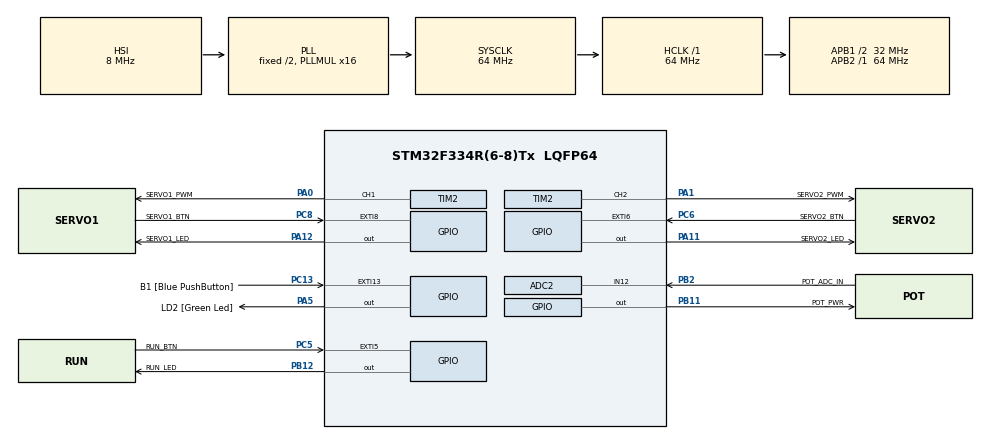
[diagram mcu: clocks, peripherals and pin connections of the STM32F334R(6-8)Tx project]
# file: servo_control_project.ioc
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ADC2.Channel-11\#ChannelRegularConversion=ADC_CHANNEL_12
ADC2.NbrOfConversionFlag=1
ADC2.Offset-11\#ChannelRegularConversion=0
ADC2.OffsetNumber-11\#ChannelRegularConversion=ADC_OFFSET_NONE
ADC2.Rank-11\#ChannelRegularConversion=1
ADC2.SamplingTime-11\#ChannelRegularConversion=ADC_SAMPLETIME_1CYCLE_5
Mcu.Family=STM32F3
Mcu.Name=STM32F334R(6-8)Tx
Mcu.Package=LQFP64
NVIC.EXTI15_10_IRQn=true\:0\:0\:false\:false\:true\:true
NVIC.EXTI9_5_IRQn=true\:0\:0\:false\:false\:true\:true
NVIC.PriorityGroup=NVIC_PRIORITYGROUP_0
NVIC.TIM2_IRQn=true\:0\:0\:false\:false\:true\:true
PA0.GPIO_Label=SERVO1_PWM
PA0.Signal=S_TIM2_CH1_ETR
PA1.GPIO_Label=SERVO2_PWM
PA1.Signal=S_TIM2_CH2
PA11.GPIO_Label=SERVO2_LED
PA11.GPIO_PuPd=GPIO_NOPULL
PA11.GPIO_Speed=GPIO_SPEED_FREQ_LOW
PA11.Signal=GPIO_Output
PA12.GPIO_Label=SERVO1_LED
PA12.GPIO_PuPd=GPIO_NOPULL
PA12.GPIO_Speed=GPIO_SPEED_FREQ_LOW
PA12.Signal=GPIO_Output
PA13.GPIO_Label=TMS
PA13.Mode=Serial_Wire
PA13.Signal=SYS_JTMS-SWDIO
PA14.GPIO_Label=TCK
PA14.Mode=Serial_Wire
PA14.Signal=SYS_JTCK-SWCLK
PA5.GPIO_Label=LD2 [Green Led]
PA5.GPIO_Speed=GPIO_SPEED_FREQ_HIGH
PA5.Signal=GPIO_Output
PB11.GPIO_Label=POT_PWR
PB11.GPIO_ModeDefaultOutputPP=GPIO_MODE_OUTPUT_OD
PB11.GPIO_PuPd=GPIO_PULLUP
PB11.Signal=GPIO_Output
PB12.GPIO_Label=RUN_LED
PB12.GPIO_PuPd=GPIO_NOPULL
PB12.GPIO_Speed=GPIO_SPEED_FREQ_LOW
PB12.Signal=GPIO_Output
PB2.GPIO_Label=POT_ADC_IN
PB2.Mode=IN12-Single-Ended
PB2.Signal=ADC2_IN12
PB3.GPIO_Label=SWO
PB3.Signal=SYS_JTDO-TRACESWO
PC13.GPIO_Label=B1 [Blue PushButton]
PC13.GPIO_ModeDefaultEXTI=GPIO_MODE_IT_FALLING
PC13.Signal=GPXTI13
PC14\ /\ OSC32_IN.Mode=LSE-External-Oscillator
PC14\ /\ OSC32_IN.Signal=RCC_OSC32_IN
PC15\ /\ OSC32_OUT.GPIO_Label=RCC_OSC32_OUT
PC15\ /\ OSC32_OUT.Mode=LSE-External-Oscillator
PC15\ /\ OSC32_OUT.Signal=RCC_OSC32_OUT
PC5.GPIO_Label=RUN_BTN
PC5.GPIO_PuPd=GPIO_PULLDOWN
PC5.Signal=GPXTI5
PC6.GPIO_Label=SERVO2_BTN
PC6.GPIO_PuPd=GPIO_PULLDOWN
PC6.Signal=GPXTI6
PC8.GPIO_Label=SERVO1_BTN
PC8.GPIO_PuPd=GPIO_PULLDOWN
PC8.Signal=GPXTI8
PF0\ /\ OSC_IN.Mode=HSE-External-Clock-Source
PF0\ /\ OSC_IN.Signal=RCC_OSC_IN
PF1\ /\ OSC_OUT.Signal=RCC_OSC_OUT
ProjectManager.HeapSize=0x200
ProjectManager.StackSize=0x400
ProjectManager.TargetToolchain=TrueSTUDIO
RCC.AHBFreq_Value=64000000
RCC.APB1CLKDivider=RCC_HCLK_DIV2
RCC.APB1Freq_Value=32000000
RCC.APB1TimFreq_Value=64000000
RCC.APB2Freq_Value=64000000
RCC.APB2TimFreq_Value=64000000
RCC.CortexFreq_Value=64000000
RCC.FLatency-AdvancedSettings=FLASH_LATENCY_2
RCC.HCLKFreq_Value=64000000
RCC.HSE_VALUE=8000000
RCC.HSI_VALUE=8000000
RCC.PLLMUL=RCC_PLL_MUL16
RCC.SYSCLKFreq_VALUE=64000000
RCC.SYSCLKSourceVirtual=RCC_SYSCLKSOURCE_PLLCLK
SH.S_TIM2_CH1_ETR.0=TIM2_CH1,PWM Generation1 CH1
SH.S_TIM2_CH2.0=TIM2_CH2,PWM Generation2 CH2
TIM2.Channel-PWM\ Generation1\ CH1=TIM_CHANNEL_1
TIM2.Channel-PWM\ Generation2\ CH2=TIM_CHANNEL_2
TIM2.OCFastMode_PWM-PWM\ Generation1\ CH1=TIM_OCFAST_ENABLE
TIM2.Period=50000-1
TIM2.Prescaler=64-1
VP_TIM2_VS_ClockSourceINT.Mode=Internal
board=NUCLEO-F334R8

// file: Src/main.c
/**
  ******************************************************************************
  * @file           : main.c
  * @brief          : Main program body
  ******************************************************************************
  ** This notice applies to any and all portions of this file
  * that are not between comment pairs USER CODE BEGIN and
  * USER CODE END. Other portions of this file, whether
  * inserted by the user or by software development tools
  * are owned by their respective copyright owners.
  *
  * COPYRIGHT(c) 2018 STMicroelectronics
  *
  * Redistribution and use in source and binary forms, with or without modification,
  * are permitted provided that the following conditions are met:
  *   1. Redistributions of source code must retain the above copyright notice,
  *      this list of conditions and the following disclaimer.
  *   2. Redistributions in binary form must reproduce the above copyright notice,
  *      this list of conditions and the following disclaimer in the documentation
  *      and/or other materials provided with the distribution.
  *   3. Neither the name of STMicroelectronics nor the names of its contributors
  *      may be used to endorse or promote products derived from this software
  *      without specific prior written permission.
  *
  * THIS SOFTWARE IS PROVIDED BY THE COPYRIGHT HOLDERS AND CONTRIBUTORS "AS IS"
  * AND ANY EXPRESS OR IMPLIED WARRANTIES, INCLUDING, BUT NOT LIMITED TO, THE
  * IMPLIED WARRANTIES OF MERCHANTABILITY AND FITNESS FOR A PARTICULAR PURPOSE ARE
  * DISCLAIMED. IN NO EVENT SHALL THE COPYRIGHT HOLDER OR CONTRIBUTORS BE LIABLE
  * FOR ANY DIRECT, INDIRECT, INCIDENTAL, SPECIAL, EXEMPLARY, OR CONSEQUENTIAL
  * DAMAGES (INCLUDING, BUT NOT LIMITED TO, PROCUREMENT OF SUBSTITUTE GOODS OR
  * SERVICES; LOSS OF USE, DATA, OR PROFITS; OR BUSINESS INTERRUPTION) HOWEVER
  * CAUSED AND ON ANY THEORY OF LIABILITY, WHETHER IN CONTRACT, STRICT LIABILITY,
  * OR TORT (INCLUDING NEGLIGENCE OR OTHERWISE) ARISING IN ANY WAY OUT OF THE USE
  * OF THIS SOFTWARE, EVEN IF ADVISED OF THE POSSIBILITY OF SUCH DAMAGE.
  *
  ******************************************************************************
  */
#include "main.h"
#include "stm32f3xx_hal.h"

/* USER CODE BEGIN Includes */
#include "usr.h"
/* USER CODE END Includes */

ADC_HandleTypeDef hadc2;

TIM_HandleTypeDef htim2;

/* USER CODE BEGIN PV */
/* Private variables ---------------------------------------------------------*/

/* USER CODE END PV */

void SystemClock_Config(void);
static void MX_GPIO_Init(void);
static void MX_TIM2_Init(void);
static void MX_ADC2_Init(void);

void HAL_TIM_MspPostInit(TIM_HandleTypeDef *htim);

/* USER CODE BEGIN PFP */
/* Private function prototypes -----------------------------------------------*/

/* USER CODE END PFP */

/* USER CODE BEGIN 0 */
void HAL_SYSTICK_Callback (void)
{
   gf_SYSTICK = true;

   if (!(++g_msec_count < 1000))
   {
      gf_RTC_TICK = true;
      g_msec_count = 0;
   }

   return;
}

void HAL_GPIO_EXTI_Callback(uint16_t GPIO_Pin)
{
    g_btn_time = HAL_GetTick();

    if (!( (g_prev_btn == GPIO_Pin) && ((g_btn_time - g_switch_time) <= MAX_DEBOUNCE_TIME) ))
    {
    	g_switch_time = g_btn_time;
    	g_prev_btn = GPIO_Pin;

    	if (GPIO_Pin == B1_Pin)
    	{
    		gf_B1 = true;
    	}

    	if (GPIO_Pin == SERVO1_BTN_Pin)
    	{
    		gf_SERVO1_BTN = true;
    	}

    	if (GPIO_Pin == SERVO2_BTN_Pin)
    	{
    		gf_SERVO2_BTN = true;
    	}

    	if (GPIO_Pin == RUN_BTN_Pin)
    	{
    		gf_RUN_BTN = true;
    	}
    }

	return;
}

void HAL_TIM_PeriodElapsedCallback(TIM_HandleTypeDef *htim)
{
	if (htim == &htim2)
	{
	}

	return;
}

void HAL_TIM_PWM_PulseFinishedCallback(TIM_HandleTypeDef *htim)
{
	if (htim == &htim2)
	{
	}

	return;
}

/* USER CODE END 0 */

int main(void)
{

  /* MCU Configuration----------------------------------------------------------*/

  /* Reset of all peripherals, Initializes the Flash interface and the Systick. */
  HAL_Init();

  /* Configure the system clock */
  SystemClock_Config();

  /* Initialize all configured peripherals */
  MX_GPIO_Init();
  MX_TIM2_Init();
  MX_ADC2_Init();
  /* USER CODE BEGIN 2 */
  usr_init(&htim2);

  /* USER CODE END 2 */

  /* Infinite loop */
  while (1)
  {

  /* USER CODE BEGIN 3 */
	  usr_process(&htim2, &hadc2);

	  __WFI();
  }
  /* USER CODE END 3 */

}

void SystemClock_Config(void)
{

  RCC_OscInitTypeDef RCC_OscInitStruct;
  RCC_ClkInitTypeDef RCC_ClkInitStruct;
  RCC_PeriphCLKInitTypeDef PeriphClkInit;

    /**Initializes the CPU, AHB and APB busses clocks
    */
  RCC_OscInitStruct.OscillatorType = RCC_OSCILLATORTYPE_HSI;
  RCC_OscInitStruct.HSIState = RCC_HSI_ON;
  RCC_OscInitStruct.HSICalibrationValue = 16;
  RCC_OscInitStruct.PLL.PLLState = RCC_PLL_ON;
  RCC_OscInitStruct.PLL.PLLSource = RCC_PLLSOURCE_HSI;
  RCC_OscInitStruct.PLL.PLLMUL = RCC_PLL_MUL16;
  if (HAL_RCC_OscConfig(&RCC_OscInitStruct) != HAL_OK)
  {
    _Error_Handler(__FILE__, __LINE__);
  }

    /**Initializes the CPU, AHB and APB busses clocks
    */
  RCC_ClkInitStruct.ClockType = RCC_CLOCKTYPE_HCLK|RCC_CLOCKTYPE_SYSCLK
                              |RCC_CLOCKTYPE_PCLK1|RCC_CLOCKTYPE_PCLK2;
  RCC_ClkInitStruct.SYSCLKSource = RCC_SYSCLKSOURCE_PLLCLK;
  RCC_ClkInitStruct.AHBCLKDivider = RCC_SYSCLK_DIV1;
  RCC_ClkInitStruct.APB1CLKDivider = RCC_HCLK_DIV2;
  RCC_ClkInitStruct.APB2CLKDivider = RCC_HCLK_DIV1;

  if (HAL_RCC_ClockConfig(&RCC_ClkInitStruct, FLASH_LATENCY_2) != HAL_OK)
  {
    _Error_Handler(__FILE__, __LINE__);
  }

  PeriphClkInit.PeriphClockSelection = RCC_PERIPHCLK_ADC12;
  PeriphClkInit.Adc12ClockSelection = RCC_ADC12PLLCLK_DIV1;
  if (HAL_RCCEx_PeriphCLKConfig(&PeriphClkInit) != HAL_OK)
  {
    _Error_Handler(__FILE__, __LINE__);
  }

    /**Configure the Systick interrupt time
    */
  HAL_SYSTICK_Config(HAL_RCC_GetHCLKFreq()/1000);

    /**Configure the Systick
    */
  HAL_SYSTICK_CLKSourceConfig(SYSTICK_CLKSOURCE_HCLK);

  /* SysTick_IRQn interrupt configuration */
  HAL_NVIC_SetPriority(SysTick_IRQn, 0, 0);
}

/* ADC2 init function */
static void MX_ADC2_Init(void)
{

  ADC_ChannelConfTypeDef sConfig;

    /**Common config
    */
  hadc2.Instance = ADC2;
  hadc2.Init.ClockPrescaler = ADC_CLOCK_ASYNC_DIV1;
  hadc2.Init.Resolution = ADC_RESOLUTION_12B;
  hadc2.Init.ScanConvMode = ADC_SCAN_DISABLE;
  hadc2.Init.ContinuousConvMode = DISABLE;
  hadc2.Init.DiscontinuousConvMode = DISABLE;
  hadc2.Init.ExternalTrigConvEdge = ADC_EXTERNALTRIGCONVEDGE_NONE;
  hadc2.Init.ExternalTrigConv = ADC_SOFTWARE_START;
  hadc2.Init.DataAlign = ADC_DATAALIGN_RIGHT;
  hadc2.Init.NbrOfConversion = 1;
  hadc2.Init.DMAContinuousRequests = DISABLE;
  hadc2.Init.EOCSelection = ADC_EOC_SINGLE_CONV;
  hadc2.Init.LowPowerAutoWait = DISABLE;
  hadc2.Init.Overrun = ADC_OVR_DATA_OVERWRITTEN;
  if (HAL_ADC_Init(&hadc2) != HAL_OK)
  {
    _Error_Handler(__FILE__, __LINE__);
  }

    /**Configure Regular Channel
    */
  sConfig.Channel = ADC_CHANNEL_12;
  sConfig.Rank = ADC_REGULAR_RANK_1;
  sConfig.SingleDiff = ADC_SINGLE_ENDED;
  sConfig.SamplingTime = ADC_SAMPLETIME_1CYCLE_5;
  sConfig.OffsetNumber = ADC_OFFSET_NONE;
  sConfig.Offset = 0;
  if (HAL_ADC_ConfigChannel(&hadc2, &sConfig) != HAL_OK)
  {
    _Error_Handler(__FILE__, __LINE__);
  }

}

/* TIM2 init function */
static void MX_TIM2_Init(void)
{

  TIM_ClockConfigTypeDef sClockSourceConfig;
  TIM_MasterConfigTypeDef sMasterConfig;
  TIM_OC_InitTypeDef sConfigOC;

  htim2.Instance = TIM2;
  htim2.Init.Prescaler = 64-1;
  htim2.Init.CounterMode = TIM_COUNTERMODE_UP;
  htim2.Init.Period = 50000-1;
  htim2.Init.ClockDivision = TIM_CLOCKDIVISION_DIV1;
  htim2.Init.AutoReloadPreload = TIM_AUTORELOAD_PRELOAD_DISABLE;
  if (HAL_TIM_Base_Init(&htim2) != HAL_OK)
  {
    _Error_Handler(__FILE__, __LINE__);
  }

  sClockSourceConfig.ClockSource = TIM_CLOCKSOURCE_INTERNAL;
  if (HAL_TIM_ConfigClockSource(&htim2, &sClockSourceConfig) != HAL_OK)
  {
    _Error_Handler(__FILE__, __LINE__);
  }

  if (HAL_TIM_PWM_Init(&htim2) != HAL_OK)
  {
    _Error_Handler(__FILE__, __LINE__);
  }

  sMasterConfig.MasterOutputTrigger = TIM_TRGO_RESET;
  sMasterConfig.MasterSlaveMode = TIM_MASTERSLAVEMODE_DISABLE;
  if (HAL_TIMEx_MasterConfigSynchronization(&htim2, &sMasterConfig) != HAL_OK)
  {
    _Error_Handler(__FILE__, __LINE__);
  }

  sConfigOC.OCMode = TIM_OCMODE_PWM1;
  sConfigOC.Pulse = 0;
  sConfigOC.OCPolarity = TIM_OCPOLARITY_HIGH;
  sConfigOC.OCFastMode = TIM_OCFAST_ENABLE;
  if (HAL_TIM_PWM_ConfigChannel(&htim2, &sConfigOC, TIM_CHANNEL_1) != HAL_OK)
  {
    _Error_Handler(__FILE__, __LINE__);
  }

  sConfigOC.OCFastMode = TIM_OCFAST_DISABLE;
  if (HAL_TIM_PWM_ConfigChannel(&htim2, &sConfigOC, TIM_CHANNEL_2) != HAL_OK)
  {
    _Error_Handler(__FILE__, __LINE__);
  }

  HAL_TIM_MspPostInit(&htim2);

}

/** Configure pins as
        * Analog
        * Input
        * Output
        * EVENT_OUT
        * EXTI
*/
static void MX_GPIO_Init(void)
{

  GPIO_InitTypeDef GPIO_InitStruct;

  /* GPIO Ports Clock Enable */
  __HAL_RCC_GPIOC_CLK_ENABLE();
  __HAL_RCC_GPIOF_CLK_ENABLE();
  __HAL_RCC_GPIOA_CLK_ENABLE();
  __HAL_RCC_GPIOB_CLK_ENABLE();

  /*Configure GPIO pin Output Level */
  HAL_GPIO_WritePin(GPIOA, LD2_Pin|SERVO2_LED_Pin|SERVO1_LED_Pin, GPIO_PIN_RESET);

  /*Configure GPIO pin Output Level */
  HAL_GPIO_WritePin(GPIOB, POT_PWR_Pin|RUN_LED_Pin, GPIO_PIN_RESET);

  /*Configure GPIO pin : B1_Pin */
  GPIO_InitStruct.Pin = B1_Pin;
  GPIO_InitStruct.Mode = GPIO_MODE_IT_FALLING;
  GPIO_InitStruct.Pull = GPIO_NOPULL;
  HAL_GPIO_Init(B1_GPIO_Port, &GPIO_InitStruct);

  /*Configure GPIO pin : LD2_Pin */
  GPIO_InitStruct.Pin = LD2_Pin;
  GPIO_InitStruct.Mode = GPIO_MODE_OUTPUT_PP;
  GPIO_InitStruct.Pull = GPIO_NOPULL;
  GPIO_InitStruct.Speed = GPIO_SPEED_FREQ_HIGH;
  HAL_GPIO_Init(LD2_GPIO_Port, &GPIO_InitStruct);

  /*Configure GPIO pins : RUN_BTN_Pin SERVO2_BTN_Pin SERVO1_BTN_Pin */
  GPIO_InitStruct.Pin = RUN_BTN_Pin|SERVO2_BTN_Pin|SERVO1_BTN_Pin;
  GPIO_InitStruct.Mode = GPIO_MODE_IT_RISING;
  GPIO_InitStruct.Pull = GPIO_PULLDOWN;
  HAL_GPIO_Init(GPIOC, &GPIO_InitStruct);

  /*Configure GPIO pin : POT_PWR_Pin */
  GPIO_InitStruct.Pin = POT_PWR_Pin;
  GPIO_InitStruct.Mode = GPIO_MODE_OUTPUT_OD;
  GPIO_InitStruct.Pull = GPIO_PULLUP;
  GPIO_InitStruct.Speed = GPIO_SPEED_FREQ_LOW;
  HAL_GPIO_Init(POT_PWR_GPIO_Port, &GPIO_InitStruct);

  /*Configure GPIO pin : RUN_LED_Pin */
  GPIO_InitStruct.Pin = RUN_LED_Pin;
  GPIO_InitStruct.Mode = GPIO_MODE_OUTPUT_PP;
  GPIO_InitStruct.Pull = GPIO_NOPULL;
  GPIO_InitStruct.Speed = GPIO_SPEED_FREQ_LOW;
  HAL_GPIO_Init(RUN_LED_GPIO_Port, &GPIO_InitStruct);

  /*Configure GPIO pins : SERVO2_LED_Pin SERVO1_LED_Pin */
  GPIO_InitStruct.Pin = SERVO2_LED_Pin|SERVO1_LED_Pin;
  GPIO_InitStruct.Mode = GPIO_MODE_OUTPUT_PP;
  GPIO_InitStruct.Pull = GPIO_NOPULL;
  GPIO_InitStruct.Speed = GPIO_SPEED_FREQ_LOW;
  HAL_GPIO_Init(GPIOA, &GPIO_InitStruct);

  /* EXTI interrupt init*/
  HAL_NVIC_SetPriority(EXTI9_5_IRQn, 0, 0);
  HAL_NVIC_EnableIRQ(EXTI9_5_IRQn);

  HAL_NVIC_SetPriority(EXTI15_10_IRQn, 0, 0);
  HAL_NVIC_EnableIRQ(EXTI15_10_IRQn);

}

void _Error_Handler(char *file, int line)
{
  while(1)
  {
  }
}

/************************ (C) COPYRIGHT STMicroelectronics *****END OF FILE****/
